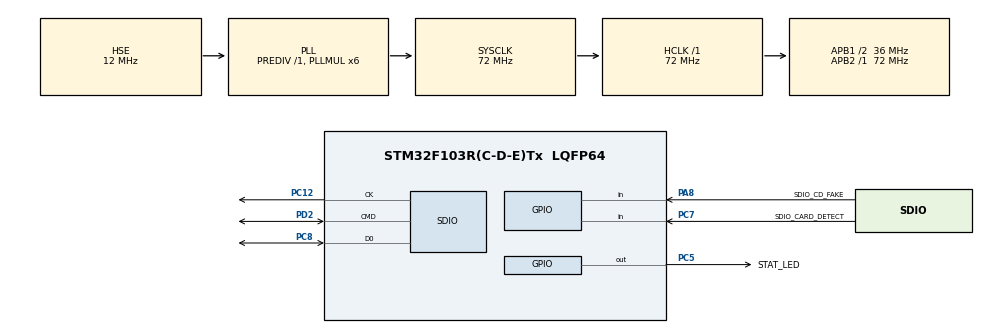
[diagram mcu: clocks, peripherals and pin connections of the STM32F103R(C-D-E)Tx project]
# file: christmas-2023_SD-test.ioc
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FATFS.BSP.number=1
FATFS0.BSP.STBoard=false
FATFS0.BSP.api=Unknown
FATFS0.BSP.instance=PC7
FATFS0.BSP.ip=GPIO
FATFS0.BSP.mode=Input
FATFS0.BSP.name=Detect_SDIO
FATFS0.BSP.solution=PC7
Mcu.Family=STM32F1
Mcu.Name=STM32F103R(C-D-E)Tx
Mcu.Package=LQFP64
NVIC.PriorityGroup=NVIC_PRIORITYGROUP_4
PA13.Mode=Serial_Wire
PA13.Signal=SYS_JTMS-SWDIO
PA14.Mode=Serial_Wire
PA14.Signal=SYS_JTCK-SWCLK
PA8.GPIO_Label=SDIO_CD_FAKE
PA8.GPIO_PuPd=GPIO_PULLUP
PA8.Signal=GPIO_Input
PC12.Mode=SD_1_bit
PC12.Signal=SDIO_CK
PC5.GPIO_Label=STAT_LED
PC5.Signal=GPIO_Output
PC7.GPIO_Label=SDIO_CARD_DETECT
PC7.GPIO_PuPd=GPIO_NOPULL
PC7.Signal=GPIO_Input
PC8.Mode=SD_1_bit
PC8.Signal=SDIO_D0
PD0-OSC_IN.Mode=HSE-External-Oscillator
PD0-OSC_IN.Signal=RCC_OSC_IN
PD1-OSC_OUT.Mode=HSE-External-Oscillator
PD1-OSC_OUT.Signal=RCC_OSC_OUT
PD2.Mode=SD_1_bit
PD2.Signal=SDIO_CMD
ProjectManager.HeapSize=0x200
ProjectManager.StackSize=0x400
ProjectManager.TargetToolchain=STM32CubeIDE
RCC.ADCPresc=RCC_ADCPCLK2_DIV6
RCC.AHBFreq_Value=72000000
RCC.APB1CLKDivider=RCC_HCLK_DIV2
RCC.APB1Freq_Value=36000000
RCC.APB1TimFreq_Value=72000000
RCC.APB2Freq_Value=72000000
RCC.APB2TimFreq_Value=72000000
RCC.HCLKFreq_Value=72000000
RCC.HSE_VALUE=12000000
RCC.PLLMUL=RCC_PLL_MUL6
RCC.PLLSourceVirtual=RCC_PLLSOURCE_HSE
RCC.SYSCLKFreq_VALUE=72000000
RCC.SYSCLKSource=RCC_SYSCLKSOURCE_PLLCLK
RCC.USBFreq_Value=72000000
SDIO.ClockDiv=3
VP_FATFS_VS_SDIO.Mode=SDIO
board=custom

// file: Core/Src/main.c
/* USER CODE BEGIN Header */
/**
  ******************************************************************************
  * @file           : main.c
  * @brief          : Main program body
  ******************************************************************************
  *
  * Code taken from:
  * https://github.com/Nunocky/STM32_Nucleo_SDCard_Access/blob/main/CubeIDE%20Project/L476RG_SDCard/Core/Src/main.c
  *
  ******************************************************************************
  */
/* USER CODE END Header */
#include "main.h"
#include "fatfs.h"

/* USER CODE BEGIN Includes */
#include <string.h>
#include <stdlib.h>
/* USER CODE END Includes */

SD_HandleTypeDef hsd;

/* USER CODE BEGIN PV */

// Debug LED on PCB
const uint16_t debugLED = GPIO_PIN_5;			// Port C

// Card detect GPIO
// Does this need PU/PD?
const uint16_t SDIO_cardDetect = GPIO_PIN_7;	//Port C

/* USER CODE END PV */

void SystemClock_Config(void);
static void MX_GPIO_Init(void);
static void MX_SDIO_SD_Init(void);

int main(void)
{

  /* MCU Configuration--------------------------------------------------------*/

  /* Reset of all peripherals, Initializes the Flash interface and the Systick. */
  HAL_Init();

  /* Configure the system clock */
  SystemClock_Config();

  /* Initialize all configured peripherals */
  MX_GPIO_Init();
  MX_SDIO_SD_Init();
  MX_FATFS_Init();
  /* USER CODE BEGIN 2 */

  //HAL_Delay(1000);

  FATFS FatFs;					// File System object structure
  FIL fil;						// File object structure act upon files in file system
  FRESULT res;					// Return code for file operations
  UINT count = 0;				// Counter for

  /* Mount file system on SD card.
   * &FatFs = FATFS system pointer.
   * "" = Drive number to mount - is this the name of the SD card?
   * 0 = delayed mount, 1 = mount immediately
   * It seems that not delaying the mount returns a "not ready" message. Not sure if this is how it's supposed to be.
   */
  res = f_mount(&FatFs, "XMAS-23", 1);
  //HAL_Delay(1000);
  if (res != FR_OK)
	  return EXIT_FAILURE;

  // Read test
	  char line[256];							// Variable to store reading in of line

	  res = f_open(&fil, "test.txt", FA_READ);	// Open *.txt file in read mode using pointer to file object structure.
	  HAL_Delay(1000);
	  if (res != FR_OK)
		  return EXIT_FAILURE;

	  /*
	   * Read first line of file using pointer to file object structure.
	   * Records in data buffer named line
	   * Reads number of bytes in line
	   * count is a bytes read counter
	   */
	  f_read(&fil, line, sizeof(line), &count);
	  //HAL_UART_Transmit(&huart2, (uint8_t*)line, count, 100);

	  res = f_close(&fil);
	  if (res != FR_OK)
	  return EXIT_FAILURE;

  // WRITE TEST
	res = f_open(&fil, "w_test.txt", FA_CREATE_ALWAYS | FA_WRITE);
	if (res != FR_OK)
	  return EXIT_FAILURE;

	f_write(&fil, "Nucleo : SD card write test\n\r", 29, &count);

	res = f_close(&fil);
	if (res != FR_OK)
	  return EXIT_FAILURE;

  /* USER CODE END 2 */

  /* Infinite loop */
  while (1)
  {

  }
}

void SystemClock_Config(void)
{
  RCC_OscInitTypeDef RCC_OscInitStruct = {0};
  RCC_ClkInitTypeDef RCC_ClkInitStruct = {0};

  /** Initializes the RCC Oscillators according to the specified parameters
  * in the RCC_OscInitTypeDef structure.
  */
  RCC_OscInitStruct.OscillatorType = RCC_OSCILLATORTYPE_HSE;
  RCC_OscInitStruct.HSEState = RCC_HSE_ON;
  RCC_OscInitStruct.HSEPredivValue = RCC_HSE_PREDIV_DIV1;
  RCC_OscInitStruct.HSIState = RCC_HSI_ON;
  RCC_OscInitStruct.PLL.PLLState = RCC_PLL_ON;
  RCC_OscInitStruct.PLL.PLLSource = RCC_PLLSOURCE_HSE;
  RCC_OscInitStruct.PLL.PLLMUL = RCC_PLL_MUL6;
  if (HAL_RCC_OscConfig(&RCC_OscInitStruct) != HAL_OK)
  {
    Error_Handler();
  }

  /** Initializes the CPU, AHB and APB buses clocks
  */
  RCC_ClkInitStruct.ClockType = RCC_CLOCKTYPE_HCLK|RCC_CLOCKTYPE_SYSCLK
                              |RCC_CLOCKTYPE_PCLK1|RCC_CLOCKTYPE_PCLK2;
  RCC_ClkInitStruct.SYSCLKSource = RCC_SYSCLKSOURCE_PLLCLK;
  RCC_ClkInitStruct.AHBCLKDivider = RCC_SYSCLK_DIV1;
  RCC_ClkInitStruct.APB1CLKDivider = RCC_HCLK_DIV2;
  RCC_ClkInitStruct.APB2CLKDivider = RCC_HCLK_DIV1;

  if (HAL_RCC_ClockConfig(&RCC_ClkInitStruct, FLASH_LATENCY_2) != HAL_OK)
  {
    Error_Handler();
  }
}

static void MX_SDIO_SD_Init(void)
{

  hsd.Instance = SDIO;
  hsd.Init.ClockEdge = SDIO_CLOCK_EDGE_RISING;
  hsd.Init.ClockBypass = SDIO_CLOCK_BYPASS_DISABLE;
  hsd.Init.ClockPowerSave = SDIO_CLOCK_POWER_SAVE_DISABLE;
  hsd.Init.BusWide = SDIO_BUS_WIDE_1B;
  hsd.Init.HardwareFlowControl = SDIO_HARDWARE_FLOW_CONTROL_DISABLE;
  hsd.Init.ClockDiv = 4;

}

static void MX_GPIO_Init(void)
{
  GPIO_InitTypeDef GPIO_InitStruct = {0};

  /* GPIO Ports Clock Enable */
  __HAL_RCC_GPIOD_CLK_ENABLE();
  __HAL_RCC_GPIOC_CLK_ENABLE();
  __HAL_RCC_GPIOA_CLK_ENABLE();

  /*Configure GPIO pin Output Level */
  HAL_GPIO_WritePin(STAT_LED_GPIO_Port, STAT_LED_Pin, GPIO_PIN_RESET);

  /*Configure GPIO pin : STAT_LED_Pin */
  GPIO_InitStruct.Pin = STAT_LED_Pin;
  GPIO_InitStruct.Mode = GPIO_MODE_OUTPUT_PP;
  GPIO_InitStruct.Pull = GPIO_NOPULL;
  GPIO_InitStruct.Speed = GPIO_SPEED_FREQ_LOW;
  HAL_GPIO_Init(STAT_LED_GPIO_Port, &GPIO_InitStruct);

  /*Configure GPIO pin : SDIO_CARD_DETECT_Pin */
  GPIO_InitStruct.Pin = SDIO_CARD_DETECT_Pin;
  GPIO_InitStruct.Mode = GPIO_MODE_INPUT;
  GPIO_InitStruct.Pull = GPIO_NOPULL;
  HAL_GPIO_Init(SDIO_CARD_DETECT_GPIO_Port, &GPIO_InitStruct);

  /*Configure GPIO pin : SDIO_CD_FAKE_Pin */
  GPIO_InitStruct.Pin = SDIO_CD_FAKE_Pin;
  GPIO_InitStruct.Mode = GPIO_MODE_INPUT;
  GPIO_InitStruct.Pull = GPIO_PULLUP;
  HAL_GPIO_Init(SDIO_CD_FAKE_GPIO_Port, &GPIO_InitStruct);

}

void Error_Handler(void)
{
  __disable_irq();
  while (1)
  {
  }
}
